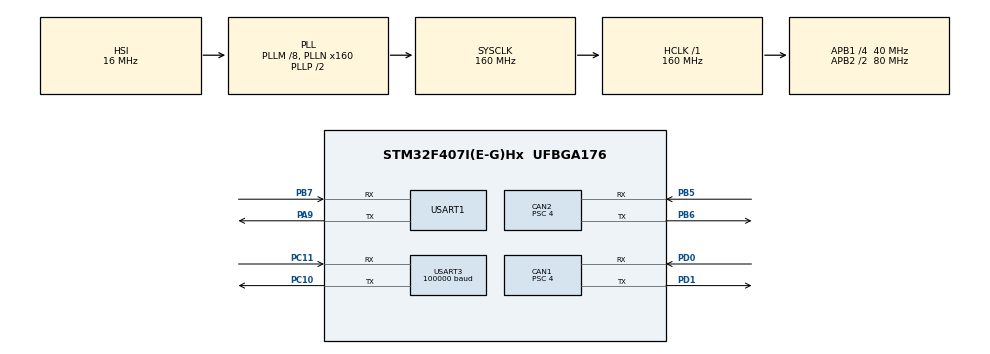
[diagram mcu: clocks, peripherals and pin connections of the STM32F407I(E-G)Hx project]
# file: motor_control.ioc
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CAN1.BS1=CAN_BS1_6TQ
CAN1.BS2=CAN_BS2_3TQ
CAN1.CalculateBaudRate=1000000
CAN1.CalculateTimeBit=1000
CAN1.CalculateTimeQuantum=100.0
CAN1.Prescaler=4
CAN2.BS1=CAN_BS1_6TQ
CAN2.BS2=CAN_BS2_3TQ
CAN2.CalculateBaudRate=1000000
CAN2.CalculateTimeBit=1000
CAN2.CalculateTimeQuantum=100.0
CAN2.Prescaler=4
Dma.Request0=USART1_TX
Dma.Request1=USART3_RX
Dma.USART1_TX.0.Direction=DMA_MEMORY_TO_PERIPH
Dma.USART1_TX.0.FIFOMode=DMA_FIFOMODE_DISABLE
Dma.USART1_TX.0.Instance=DMA2_Stream7
Dma.USART1_TX.0.MemDataAlignment=DMA_MDATAALIGN_BYTE
Dma.USART1_TX.0.MemInc=DMA_MINC_ENABLE
Dma.USART1_TX.0.Mode=DMA_NORMAL
Dma.USART1_TX.0.PeriphDataAlignment=DMA_PDATAALIGN_BYTE
Dma.USART1_TX.0.PeriphInc=DMA_PINC_DISABLE
Dma.USART1_TX.0.Priority=DMA_PRIORITY_VERY_HIGH
Dma.USART3_RX.1.Direction=DMA_PERIPH_TO_MEMORY
Dma.USART3_RX.1.FIFOMode=DMA_FIFOMODE_DISABLE
Dma.USART3_RX.1.Instance=DMA1_Stream1
Dma.USART3_RX.1.MemDataAlignment=DMA_MDATAALIGN_BYTE
Dma.USART3_RX.1.MemInc=DMA_MINC_ENABLE
Dma.USART3_RX.1.Mode=DMA_CIRCULAR
Dma.USART3_RX.1.PeriphDataAlignment=DMA_PDATAALIGN_BYTE
Dma.USART3_RX.1.PeriphInc=DMA_PINC_DISABLE
Dma.USART3_RX.1.Priority=DMA_PRIORITY_VERY_HIGH
Mcu.Family=STM32F4
Mcu.Name=STM32F407I(E-G)Hx
Mcu.Package=UFBGA176
NVIC.CAN1_RX0_IRQn=true\:0\:0\:false\:false\:true\:true\:true\:true
NVIC.CAN1_RX1_IRQn=true\:0\:0\:false\:false\:true\:true\:true\:true
NVIC.CAN1_TX_IRQn=true\:0\:0\:false\:false\:true\:true\:true\:true
NVIC.CAN2_RX0_IRQn=true\:0\:0\:false\:false\:true\:true\:true\:true
NVIC.CAN2_RX1_IRQn=true\:0\:0\:false\:false\:true\:true\:true\:true
NVIC.CAN2_TX_IRQn=true\:0\:0\:false\:false\:true\:true\:true\:true
NVIC.DMA1_Stream1_IRQn=true\:0\:0\:false\:false\:true\:true\:true\:true
NVIC.DMA2_Stream7_IRQn=true\:0\:0\:false\:false\:true\:true\:true\:true
NVIC.PriorityGroup=NVIC_PRIORITYGROUP_4
NVIC.USART1_IRQn=true\:0\:0\:false\:false\:true\:true\:true\:true
NVIC.USART3_IRQn=true\:0\:0\:false\:false\:true\:true\:true\:true
PA9.Mode=Asynchronous
PA9.Signal=USART1_TX
PB5.Mode=CAN_Activate
PB5.Signal=CAN2_RX
PB6.Mode=CAN_Activate
PB6.Signal=CAN2_TX
PB7.Mode=Asynchronous
PB7.Signal=USART1_RX
PC10.Mode=Asynchronous
PC10.Signal=USART3_TX
PC11.Mode=Asynchronous
PC11.Signal=USART3_RX
PD0.Mode=CAN_Activate
PD0.Signal=CAN1_RX
PD1.Mode=CAN_Activate
PD1.Signal=CAN1_TX
ProjectManager.HeapSize=0x200
ProjectManager.StackSize=0x400
ProjectManager.TargetToolchain=MDK-ARM V5.32
RCC.48MHZClocksFreq_Value=80000000
RCC.AHBFreq_Value=160000000
RCC.APB1CLKDivider=RCC_HCLK_DIV4
RCC.APB1Freq_Value=40000000
RCC.APB1TimFreq_Value=80000000
RCC.APB2CLKDivider=RCC_HCLK_DIV2
RCC.APB2Freq_Value=80000000
RCC.APB2TimFreq_Value=160000000
RCC.CortexFreq_Value=160000000
RCC.HCLKFreq_Value=160000000
RCC.HSE_VALUE=25000000
RCC.HSI_VALUE=16000000
RCC.LSE_VALUE=32768
RCC.PLLM=8
RCC.PLLN=160
RCC.SYSCLKFreq_VALUE=160000000
RCC.SYSCLKSource=RCC_SYSCLKSOURCE_PLLCLK
RCC.VCOOutputFreq_Value=320000000
USART1.VirtualMode=VM_ASYNC
USART3.BaudRate=100000
USART3.Parity=PARITY_EVEN
USART3.VirtualMode=VM_ASYNC
board=custom

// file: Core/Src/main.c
/* USER CODE BEGIN Header */
/**
  ******************************************************************************
  * @file           : main.c
  * @brief          : Main program body
  ******************************************************************************
  * @attention
  *
  * Copyright (c) 2024 STMicroelectronics.
  * All rights reserved.
  *
  * This software is licensed under terms that can be found in the LICENSE file
  * in the root directory of this software component.
  * If no LICENSE file comes with this software, it is provided AS-IS.
  *
  ******************************************************************************
  */
/* USER CODE END Header */
#include "main.h"
#include "can.h"
#include "dma.h"
#include "usart.h"
#include "gpio.h"

/* USER CODE BEGIN Includes */
#include "bsp_can.h"
#include "bsp_usart.h"
#include "bsp_pid.h"
#include "bsp_motor.h"
#include "bsp_usart.h"
#include <stdio.h>
#include <stdarg.h>
#include "string.h"
#include "remote_control.h"
#include "task_init.h"
#include "shoot.h"

/* USER CODE END Includes */

/* USER CODE BEGIN PTD */
const RC_ctrl_t *local_rc_ctrl;
/* USER CODE END PTD */

void SystemClock_Config(void);

int main()
{

  /* MCU Configuration--------------------------------------------------------*/

  /* Reset of all peripherals, Initializes the Flash interface and the Systick. */
  HAL_Init();

  /* Configure the system clock */
  SystemClock_Config();

  /* Initialize all configured peripherals */
  MX_GPIO_Init();
  MX_DMA_Init();
  MX_CAN1_Init();
  MX_CAN2_Init();
  MX_USART1_UART_Init();
  MX_USART3_UART_Init();
  /* USER CODE BEGIN 2 */
task_start_init();

local_rc_ctrl = get_remote_control_point();
CAN_Init(&hcan1, can_fifo_callback);
shoot_init(&shoot_control);

  /* USER CODE END 2 */

  /* Infinite loop */
  while (1)
  {

    /* USER CODE BEGIN 3 */
		shoot_task(&shoot_control);

  }
  /* USER CODE END 3 */
}

void SystemClock_Config(void)
{
  RCC_OscInitTypeDef RCC_OscInitStruct = {0};
  RCC_ClkInitTypeDef RCC_ClkInitStruct = {0};

  /** Configure the main internal regulator output voltage
  */
  __HAL_RCC_PWR_CLK_ENABLE();
  __HAL_PWR_VOLTAGESCALING_CONFIG(PWR_REGULATOR_VOLTAGE_SCALE1);

  /** Initializes the RCC Oscillators according to the specified parameters
  * in the RCC_OscInitTypeDef structure.
  */
  RCC_OscInitStruct.OscillatorType = RCC_OSCILLATORTYPE_HSI;
  RCC_OscInitStruct.HSIState = RCC_HSI_ON;
  RCC_OscInitStruct.HSICalibrationValue = RCC_HSICALIBRATION_DEFAULT;
  RCC_OscInitStruct.PLL.PLLState = RCC_PLL_ON;
  RCC_OscInitStruct.PLL.PLLSource = RCC_PLLSOURCE_HSI;
  RCC_OscInitStruct.PLL.PLLM = 8;
  RCC_OscInitStruct.PLL.PLLN = 160;
  RCC_OscInitStruct.PLL.PLLP = RCC_PLLP_DIV2;
  RCC_OscInitStruct.PLL.PLLQ = 4;
  if (HAL_RCC_OscConfig(&RCC_OscInitStruct) != HAL_OK)
  {
    Error_Handler();
  }

  /** Initializes the CPU, AHB and APB buses clocks
  */
  RCC_ClkInitStruct.ClockType = RCC_CLOCKTYPE_HCLK|RCC_CLOCKTYPE_SYSCLK
                              |RCC_CLOCKTYPE_PCLK1|RCC_CLOCKTYPE_PCLK2;
  RCC_ClkInitStruct.SYSCLKSource = RCC_SYSCLKSOURCE_PLLCLK;
  RCC_ClkInitStruct.AHBCLKDivider = RCC_SYSCLK_DIV1;
  RCC_ClkInitStruct.APB1CLKDivider = RCC_HCLK_DIV4;
  RCC_ClkInitStruct.APB2CLKDivider = RCC_HCLK_DIV2;

  if (HAL_RCC_ClockConfig(&RCC_ClkInitStruct, FLASH_LATENCY_5) != HAL_OK)
  {
    Error_Handler();
  }
}

void Error_Handler(void)
{
  __disable_irq();
  while (1)
  {
  }
}
